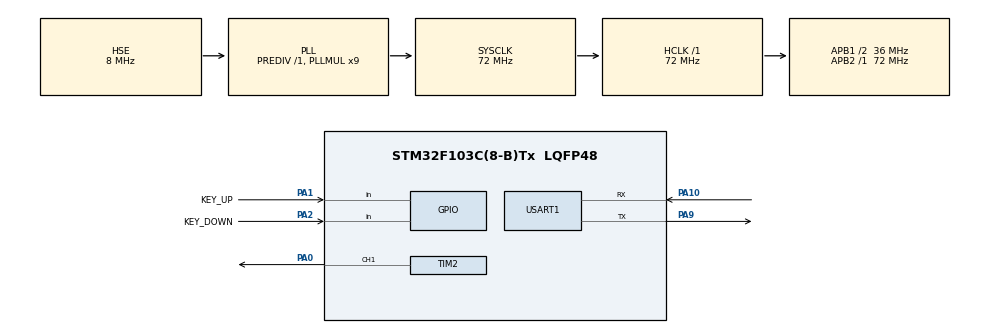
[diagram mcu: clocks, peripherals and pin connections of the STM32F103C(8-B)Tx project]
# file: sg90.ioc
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Mcu.Family=STM32F1
Mcu.Name=STM32F103C(8-B)Tx
Mcu.Package=LQFP48
NVIC.PriorityGroup=NVIC_PRIORITYGROUP_4
NVIC.USART1_IRQn=true\:0\:0\:false\:false\:true\:true\:true\:true
PA0-WKUP.Signal=S_TIM2_CH1_ETR
PA1.GPIO_Label=KEY_UP
PA1.GPIO_PuPd=GPIO_PULLUP
PA1.Signal=GPIO_Input
PA10.Mode=Asynchronous
PA10.Signal=USART1_RX
PA13.Mode=Serial_Wire
PA13.Signal=SYS_JTMS-SWDIO
PA14.Mode=Serial_Wire
PA14.Signal=SYS_JTCK-SWCLK
PA2.GPIO_Label=KEY_DOWN
PA2.GPIO_PuPd=GPIO_PULLUP
PA2.Signal=GPIO_Input
PA9.Mode=Asynchronous
PA9.Signal=USART1_TX
PC14-OSC32_IN.Mode=LSE-External-Oscillator
PC14-OSC32_IN.Signal=RCC_OSC32_IN
PC15-OSC32_OUT.Mode=LSE-External-Oscillator
PC15-OSC32_OUT.Signal=RCC_OSC32_OUT
PD0-OSC_IN.Mode=HSE-External-Oscillator
PD0-OSC_IN.Signal=RCC_OSC_IN
PD1-OSC_OUT.Mode=HSE-External-Oscillator
PD1-OSC_OUT.Signal=RCC_OSC_OUT
ProjectManager.HeapSize=0x200
ProjectManager.StackSize=0x400
ProjectManager.TargetToolchain=CMake
RCC.AHBFreq_Value=72000000
RCC.APB1CLKDivider=RCC_HCLK_DIV2
RCC.APB1Freq_Value=36000000
RCC.APB1TimFreq_Value=72000000
RCC.APB2Freq_Value=72000000
RCC.APB2TimFreq_Value=72000000
RCC.HCLKFreq_Value=72000000
RCC.PLLMUL=RCC_PLL_MUL9
RCC.PLLSourceVirtual=RCC_PLLSOURCE_HSE
RCC.SYSCLKFreq_VALUE=72000000
RCC.SYSCLKSource=RCC_SYSCLKSOURCE_PLLCLK
RCC.USBFreq_Value=72000000
SH.S_TIM2_CH1_ETR.0=TIM2_CH1,PWM Generation1 CH1
TIM2.Channel-PWM\ Generation1\ CH1=TIM_CHANNEL_1
TIM2.Period=19999
TIM2.Prescaler=71
USART1.VirtualMode=VM_ASYNC
board=custom

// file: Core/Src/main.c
/* USER CODE BEGIN Header */
/**
  ******************************************************************************
  * @file           : main.c
  * @brief          : Main program body
  ******************************************************************************
  * @attention
  *
  * Copyright (c) 2026 STMicroelectronics.
  * All rights reserved.
  *
  * This software is licensed under terms that can be found in the LICENSE file
  * in the root directory of this software component.
  * If no LICENSE file comes with this software, it is provided AS-IS.
  *
  ******************************************************************************
  */
/* USER CODE END Header */
#include "main.h"

/* USER CODE BEGIN Includes */
#include <stdio.h>
#include "Servo.h"
#include "OLED.h"
/* USER CODE END Includes */

TIM_HandleTypeDef htim2;

UART_HandleTypeDef huart1;

void SystemClock_Config(void);
static void MX_GPIO_Init(void);
static void MX_TIM2_Init(void);
static void MX_USART1_UART_Init(void);

/* USER CODE BEGIN 0 */
/* 改角度后统一做三件事：刷舵机、刷 OLED、发串口 */
static void ShowAndSend(float a)
{
  uint16_t ccr = Servo_AngleToCCR(a);
  Servo_SetAngle(a);
  Servo_ShowOnOLED(a, ccr);
  printf("Target=%3d  CCR=%4d  Pulse=%d.%03dms\r\n",
         (int)a, ccr, ccr / 1000, ccr % 1000);
}
/* USER CODE END 0 */

int main(void)
{

  /* MCU Configuration--------------------------------------------------------*/

  /* Reset of all peripherals, Initializes the Flash interface and the Systick. */
  HAL_Init();

  /* Configure the system clock */
  SystemClock_Config();

  /* Initialize all configured peripherals */
  MX_GPIO_Init();
  MX_TIM2_Init();
  MX_USART1_UART_Init();
  /* USER CODE BEGIN 2 */
  OLED_Init();
  OLED_Clear();

  HAL_TIM_PWM_Start(&htim2, TIM_CHANNEL_1);

  /* 第一段：定角序列 0→45→90→135→180，每点停 1 秒（必做项，录视频要用） */
  const float seq[5] = {0.0f, 45.0f, 90.0f, 135.0f, 180.0f};
  for (int i = 0; i < 5; i++)
  {
    ShowAndSend(seq[i]);
    HAL_Delay(1000);
  }

  /* 第二段：回到中位，进入按键模式（选做 A） */
  float angle = 90.0f;
  ShowAndSend(angle);
  /* USER CODE END 2 */

  /* Infinite loop */
  /* USER CODE BEGIN WHILE */
  while (1)
  {
    /* ---- KEY_UP（PA1）：+15° ---- */
    if (HAL_GPIO_ReadPin(KEY_UP_GPIO_Port, KEY_UP_Pin) == GPIO_PIN_RESET)
    {
      HAL_Delay(20);                                          /* 消抖：等抖动过去 */
      if (HAL_GPIO_ReadPin(KEY_UP_GPIO_Port, KEY_UP_Pin) == GPIO_PIN_RESET)
      {
        angle += 15.0f;
        if (angle > 180.0f) angle = 180.0f;                   /* 上限 */
        ShowAndSend(angle);
        while (HAL_GPIO_ReadPin(KEY_UP_GPIO_Port, KEY_UP_Pin) == GPIO_PIN_RESET) { }
      }
    }

    /* ---- KEY_DOWN（PA2）：-15° ---- */
    if (HAL_GPIO_ReadPin(KEY_DOWN_GPIO_Port, KEY_DOWN_Pin) == GPIO_PIN_RESET)
    {
      HAL_Delay(20);
      if (HAL_GPIO_ReadPin(KEY_DOWN_GPIO_Port, KEY_DOWN_Pin) == GPIO_PIN_RESET)
      {
        angle -= 15.0f;
        if (angle < 0.0f) angle = 0.0f;                       /* 下限 */
        ShowAndSend(angle);
        while (HAL_GPIO_ReadPin(KEY_DOWN_GPIO_Port, KEY_DOWN_Pin) == GPIO_PIN_RESET) { }
      }
    }

    /* USER CODE END WHILE */

  }
}

void SystemClock_Config(void)
{
  RCC_OscInitTypeDef RCC_OscInitStruct = {0};
  RCC_ClkInitTypeDef RCC_ClkInitStruct = {0};

  /** Initializes the RCC Oscillators according to the specified parameters
  * in the RCC_OscInitTypeDef structure.
  */
  RCC_OscInitStruct.OscillatorType = RCC_OSCILLATORTYPE_HSE;
  RCC_OscInitStruct.HSEState = RCC_HSE_ON;
  RCC_OscInitStruct.HSEPredivValue = RCC_HSE_PREDIV_DIV1;
  RCC_OscInitStruct.HSIState = RCC_HSI_ON;
  RCC_OscInitStruct.PLL.PLLState = RCC_PLL_ON;
  RCC_OscInitStruct.PLL.PLLSource = RCC_PLLSOURCE_HSE;
  RCC_OscInitStruct.PLL.PLLMUL = RCC_PLL_MUL9;
  if (HAL_RCC_OscConfig(&RCC_OscInitStruct) != HAL_OK)
  {
    Error_Handler();
  }

  /** Initializes the CPU, AHB and APB buses clocks
  */
  RCC_ClkInitStruct.ClockType = RCC_CLOCKTYPE_HCLK|RCC_CLOCKTYPE_SYSCLK
                              |RCC_CLOCKTYPE_PCLK1|RCC_CLOCKTYPE_PCLK2;
  RCC_ClkInitStruct.SYSCLKSource = RCC_SYSCLKSOURCE_PLLCLK;
  RCC_ClkInitStruct.AHBCLKDivider = RCC_SYSCLK_DIV1;
  RCC_ClkInitStruct.APB1CLKDivider = RCC_HCLK_DIV2;
  RCC_ClkInitStruct.APB2CLKDivider = RCC_HCLK_DIV1;

  if (HAL_RCC_ClockConfig(&RCC_ClkInitStruct, FLASH_LATENCY_2) != HAL_OK)
  {
    Error_Handler();
  }
}

static void MX_TIM2_Init(void)
{

  TIM_MasterConfigTypeDef sMasterConfig = {0};
  TIM_OC_InitTypeDef sConfigOC = {0};

  htim2.Instance = TIM2;
  htim2.Init.Prescaler = 71;
  htim2.Init.CounterMode = TIM_COUNTERMODE_UP;
  htim2.Init.Period = 19999;
  htim2.Init.ClockDivision = TIM_CLOCKDIVISION_DIV1;
  htim2.Init.AutoReloadPreload = TIM_AUTORELOAD_PRELOAD_DISABLE;
  if (HAL_TIM_PWM_Init(&htim2) != HAL_OK)
  {
    Error_Handler();
  }
  sMasterConfig.MasterOutputTrigger = TIM_TRGO_RESET;
  sMasterConfig.MasterSlaveMode = TIM_MASTERSLAVEMODE_DISABLE;
  if (HAL_TIMEx_MasterConfigSynchronization(&htim2, &sMasterConfig) != HAL_OK)
  {
    Error_Handler();
  }
  sConfigOC.OCMode = TIM_OCMODE_PWM1;
  sConfigOC.Pulse = 0;
  sConfigOC.OCPolarity = TIM_OCPOLARITY_HIGH;
  sConfigOC.OCFastMode = TIM_OCFAST_DISABLE;
  if (HAL_TIM_PWM_ConfigChannel(&htim2, &sConfigOC, TIM_CHANNEL_1) != HAL_OK)
  {
    Error_Handler();
  }
  HAL_TIM_MspPostInit(&htim2);

}

static void MX_USART1_UART_Init(void)
{

  huart1.Instance = USART1;
  huart1.Init.BaudRate = 115200;
  huart1.Init.WordLength = UART_WORDLENGTH_8B;
  huart1.Init.StopBits = UART_STOPBITS_1;
  huart1.Init.Parity = UART_PARITY_NONE;
  huart1.Init.Mode = UART_MODE_TX_RX;
  huart1.Init.HwFlowCtl = UART_HWCONTROL_NONE;
  huart1.Init.OverSampling = UART_OVERSAMPLING_16;
  if (HAL_UART_Init(&huart1) != HAL_OK)
  {
    Error_Handler();
  }

}

static void MX_GPIO_Init(void)
{
  GPIO_InitTypeDef GPIO_InitStruct = {0};

  /* GPIO Ports Clock Enable */
  __HAL_RCC_GPIOC_CLK_ENABLE();
  __HAL_RCC_GPIOD_CLK_ENABLE();
  __HAL_RCC_GPIOA_CLK_ENABLE();

  /*Configure GPIO pins : KEY_UP_Pin KEY_DOWN_Pin */
  GPIO_InitStruct.Pin = KEY_UP_Pin|KEY_DOWN_Pin;
  GPIO_InitStruct.Mode = GPIO_MODE_INPUT;
  GPIO_InitStruct.Pull = GPIO_PULLUP;
  HAL_GPIO_Init(GPIOA, &GPIO_InitStruct);

}

/* USER CODE BEGIN 4 */
int _write(int file, char *ptr, int len)
{
  HAL_UART_Transmit(&huart1, (uint8_t *)ptr, len, 100);
  return len;
}
/* USER CODE END 4 */

void Error_Handler(void)
{
  __disable_irq();
  while (1)
  {
  }
}
